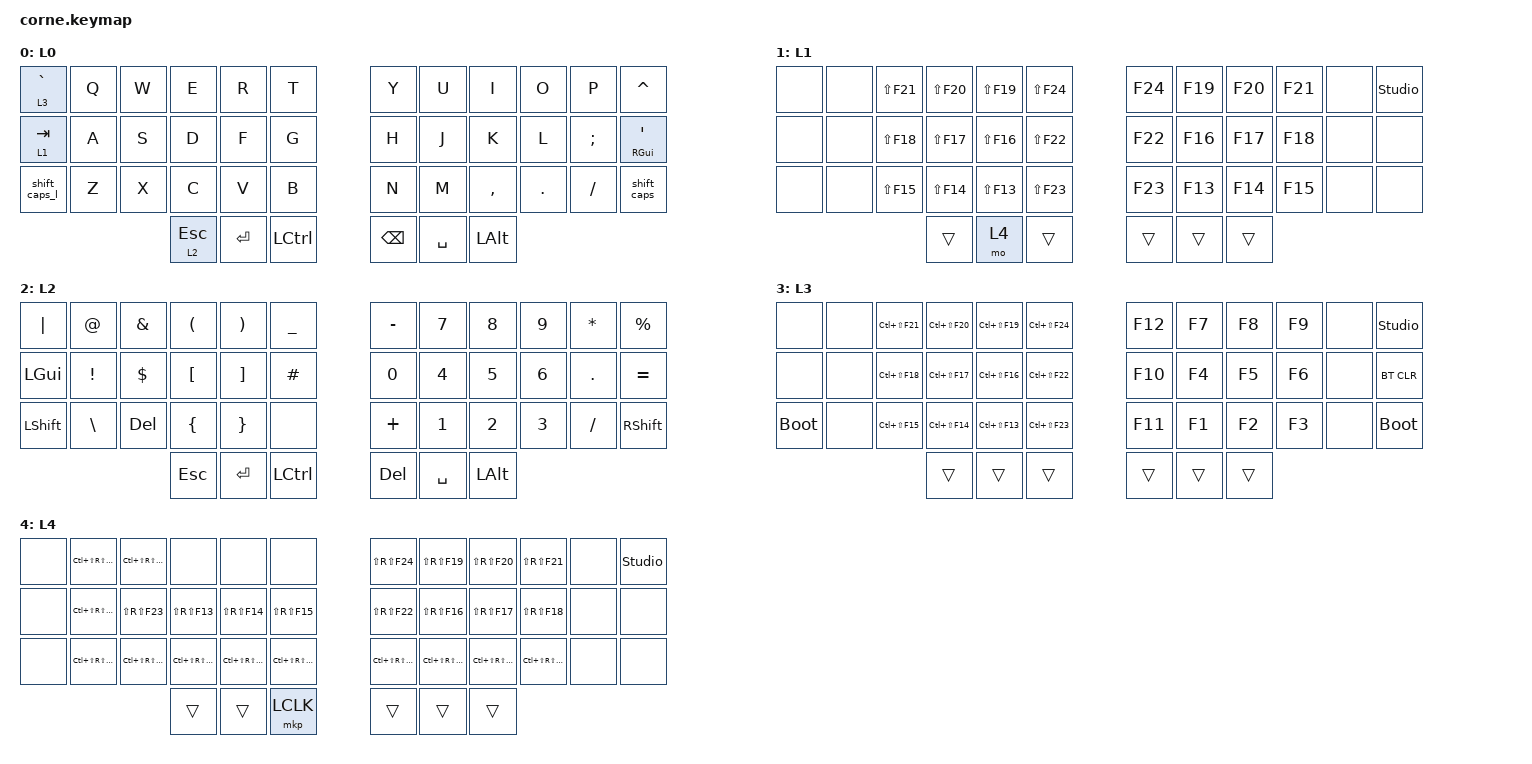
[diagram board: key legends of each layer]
#include <behaviors.dtsi>
#include <dt-bindings/zmk/bt.h>
#include <dt-bindings/zmk/keys.h>
// pointing.h is kept for LCLK/MOVE_* should the mouse ever move back into
// firmware. Nothing binds them now: AutoKey drives the pointer from the Alt
// F-keys on the mouse layer, where the speed is a number in jumps.ini.
#include <dt-bindings/zmk/pointing.h>

#define DEF 0
#define NAV 1
#define SYM 2
#define ADJ 3
#define EXTRA 4

/ {
    behaviors {
        hm: homerow_mods {
            compatible = "zmk,behavior-hold-tap";
            label = "HOMEROW_MODS";
            #binding-cells = <2>;
            tapping-term-ms = <200>;
            quick_tap_ms = <0>;
            flavor = "tap-preferred";
            bindings = <&kp>, <&kp>;

            quick-tap-ms = <180>;
            global-quick-tap;
        };

        // One tap is an ordinary Shift, held or not; two taps toggle Caps
        // Lock, and two more turn it off again.
        //
        // Each hand gets its own instance rather than sharing one. A tap dance
        // counts taps against the behaviour, and one instance bound to two keys
        // risks a tap on each hand counting as a double tap on neither.
        shift_caps_l: shift_caps_l {
            compatible = "zmk,behavior-tap-dance";
            label = "SHIFT_CAPS_L";
            #binding-cells = <0>;
            tapping-term-ms = <200>;
            bindings = <&kp LSHFT>, <&kp CAPS>;
        };

        shift_caps: shift_caps {
            compatible = "zmk,behavior-tap-dance";
            label = "SHIFT_CAPS";
            #binding-cells = <0>;
            tapping-term-ms = <200>;
            bindings = <&kp RSHFT>, <&kp CAPS>;
        };

        para: para {
            compatible = "zmk,behavior-tap-dance";
            label = "PARA";
            #binding-cells = <0>;
            bindings = <&kp LEFT_PARENTHESIS>, <&kp RIGHT_PARENTHESIS>;
        };

        caps: caps {
            compatible = "zmk,behavior-caps-word";
            label = "CAPS";
            #binding-cells = <0>;
            continue-list = <MINUS BACKSPACE>;
        };

        paraless: paraless {
            compatible = "zmk,behavior-mod-morph";
            label = "PARALESS";
            bindings = <&kp LEFT_PARENTHESIS>, <&kp LESS_THAN>;

            #binding-cells = <0>;
            mods = <(MOD_LSFT)>;
        };

        paragreat: paragreat {
            compatible = "zmk,behavior-mod-morph";
            label = "PARAGREAT";
            bindings = <&kp RIGHT_PARENTHESIS>, <&kp GREATER_THAN>;

            #binding-cells = <0>;
            mods = <(MOD_LSFT)>;
        };
    };

    macros {
        browsertab: browsertab {
            compatible = "zmk,behavior-macro";
            #binding-cells = <0>;
            bindings =
                <&macro_press>,
                <&kp LCTRL>,
                <&macro_tap>,
                <&kp TAB>,
                <&macro_release>,
                <&kp LCTRL>;
        };
    };

    combos {
        compatible = "zmk,combos";

        escape {
            bindings = <&kp ESCAPE>;
            key-positions = <13 29>;
        };

        delete {
            bindings = <&kp DELETE>;
            key-positions = <15 21>;
        };

        perc {
            bindings = <&kp PERCENT>;
            key-positions = <5 17>;
        };

        equal {
            bindings = <&kp EQUAL>;
            key-positions = <28 16>;
        };

        dollar {
            bindings = <&kp DOLLAR>;
            key-positions = <4 16>;
        };

        pound {
            bindings = <&kp POUND>;
            key-positions = <3 15>;
        };

        at {
            bindings = <&kp AT>;
            key-positions = <2 14>;
        };

        backslash {
            bindings = <&kp BACKSLASH>;
            key-positions = <26 14>;
        };

        copy {
            bindings = <&kp K_COPY>;
            key-positions = <28 27>;
        };

        paste {
            bindings = <&kp K_PASTE>;
            key-positions = <26 27>;
        };

        star {
            bindings = <&kp STAR>;
            key-positions = <8 20>;
        };

        slash {
            bindings = <&kp SLASH>;
            key-positions = <32 20>;
        };

        plus {
            bindings = <&kp PLUS>;
            key-positions = <7 19>;
        };

        minus {
            bindings = <&kp MINUS>;
            key-positions = <31 19>;
        };

        underscore {
            bindings = <&kp UNDER>;
            key-positions = <30 18>;
        };

        leftbrack {
            bindings = <&kp LEFT_BRACKET>;
            key-positions = <31 32>;
        };

        rightbrack {
            bindings = <&kp RIGHT_BRACKET>;
            key-positions = <33 32>;
        };

        para-less {
            bindings = <&paraless>;
            key-positions = <20 19>;
        };

        para-great {
            bindings = <&paragreat>;
            key-positions = <20 21>;
        };

        // Tab and Enter together, straight to the mouse layer.
        //
        // The slow way in - hold Tab for NAV, then hold Enter for &mo 4 - works
        // and always did, but only slowly. `&lt` is ZMK's stock layer-tap:
        // tap-preferred, 200ms, which decides hold or tap when the term expires
        // and not before. Pressing Enter inside that window therefore lands on
        // L0, where position 37 is a plain Enter, so the mouse layer never
        // opens and a newline is typed instead. Reaching for both keys at once
        // is the natural gesture and it was the one that could not work.
        //
        // A combo rather than changing the layer-tap's flavour, because
        // hold-preferred would make every Tab followed quickly by a letter into
        // a layer action - and "Tab to indent, then type" is real. This touches
        // nothing but these two keys.
        //
        // Both numbers are the ones to tune after living with it: raise
        // timeout-ms if a deliberate press is missed, and require-prior-idle-ms
        // is what stops a fast Tab-then-Enter in a form from opening the layer
        // by accident.
        mouse-layer {
            bindings = <&mo 4>;
            key-positions = <12 37>;
            timeout-ms = <60>;
            require-prior-idle-ms = <125>;
            layers = <0>;
        };
    };

    //

    keymap {
        compatible = "zmk,keymap";

        DEF {
            display-name = "L0";

            // -----------------------------------------------------------------------------------------
            // |  Q  |  W  |  E  |  R  |  T  |   |  Y  |  U   |  I  |  O  |  P  |
            // |  A  |  S  |  D  |  F  |  G  |   |  H  |  J   |  K  |  L  |  ;  |
            // |  Z  |  X  |  C  |  V  |  B  |   |  N  |  M   |  ,  |  .  |  /  |
            // | GUI | CTRL | SHFT | LWR | SPC |   | ENT | RSE  | BKSP | ALT | ESC |

            bindings = <
&lt 3 GRAVE   &kp Q  &kp W  &kp E         &kp R      &kp T               &kp Y    &kp U            &kp I      &kp O    &kp P     &kp CARET
&lt 1 TAB     &kp A  &kp S  &kp D         &kp F      &kp G               &kp H    &kp J            &kp K      &kp L    &kp SEMI  &mt RIGHT_GUI SQT
&shift_caps_l &kp Z  &kp X  &kp C         &kp V      &kp B               &kp N    &kp M            &kp COMMA  &kp DOT  &kp FSLH  &shift_caps
                            &lt 2 ESCAPE  &kp ENTER  &kp LEFT_CONTROL    &kp BSPC  &kp SPACE  &kp LALT
            >;
        };

        NAV {
            display-name = "L1";

            // -----------------------------------------------------------------------------------------
            // |  TAB |  1  |  2  |  3  |  4  |  5  |   |  6  |  7  |  8  |  9  |  0  | BKSP |
            // | BTCLR| BT1 | BT2 | BT3 | BT4 | BT5 |   | LFT | DWN |  UP | RGT |     |      |
            // | SHFT |     |     |     |     |     |   |     |     |     |     |     |      |
            // | GUI | CTRL | SHFT | LWR | SPC |   | ENT | RSE  | BKSP | ALT | ESC |

            bindings = <
&none  &none  &kp LS(F21)  &kp LS(F20)  &kp LS(F19)  &kp LS(F24)    &kp F24  &kp F19  &kp F20  &kp F21  &none  &studio_unlock
&none  &none  &kp LS(F18)  &kp LS(F17)  &kp LS(F16)  &kp LS(F22)    &kp F22  &kp F16  &kp F17  &kp F18  &none  &none
&none  &none  &kp LS(F15)  &kp LS(F14)  &kp LS(F13)  &kp LS(F23)    &kp F23  &kp F13  &kp F14  &kp F15  &none  &none
                           &trans       &mo 4        &trans         &trans   &trans   &trans
            >;
        };

        SYM {
            display-name = "L2";

            // -----------------------------------------------------------------------------------------
            // |  TAB |  !  |  @  |  #  |  $  |  %  |   |  ^  |  &  |  *  |  (  |  )  | BKSP |
            // | CTRL |     |     |     |     |     |   |  -  |  =  |  [  |  ]  |  \  |  `   |
            // | SHFT |     |     |     |     |     |   |  _  |  +  |  {  |  }  | "|" |  ~   |
            //                    | GUI |     | SPC |   | ENT |     | ALT |

            bindings = <
&kp PIPE   &kp AT_SIGN      &kp AMPERSAND  &kp LEFT_PARENTHESIS  &kp RIGHT_PARENTHESIS  &kp UNDERSCORE    &kp MINUS     &kp N7        &kp N8  &kp N9  &kp ASTERISK  &kp PERCENT
&kp LGUI   &kp EXCLAMATION  &kp DOLLAR     &kp LEFT_BRACKET      &kp RIGHT_BRACKET      &kp HASH          &kp N0  &kp N4        &kp N5  &kp N6  &kp PERIOD    &kp EQUAL
&kp LSHFT  &kp BACKSLASH    &kp DELETE     &kp LEFT_BRACE        &kp RIGHT_BRACE        &none             &kp PLUS      &kp N1  &kp N2  &kp N3        &kp SLASH     &kp RSHFT
                                           &kp ESC               &kp ENTER              &kp LEFT_CONTROL  &kp DELETE    &kp SPACE     &kp LALT
            >;
        };

        ADJ {
            display-name = "L3";
            bindings = <
&none        &none  &kp LC(LS(F21))  &kp LC(LS(F20))  &kp LC(LS(F19))  &kp LC(LS(F24))    &kp F12  &kp F7  &kp F8  &kp F9  &none  &studio_unlock
&none        &none  &kp LC(LS(F18))  &kp LC(LS(F17))  &kp LC(LS(F16))  &kp LC(LS(F22))    &kp F10  &kp F4  &kp F5  &kp F6  &none  &bt BT_CLR
&bootloader  &none  &kp LC(LS(F15))  &kp LC(LS(F14))  &kp LC(LS(F13))  &kp LC(LS(F23))    &kp F11  &kp F1  &kp F2  &kp F3  &none  &bootloader
                                     &trans           &trans           &trans             &trans   &trans  &trans
            >;
        };

        // The mouse layer. Every key sends both Shift keys and one F-key, with
        // no Alt anywhere: a modifier that gets stuck should cost capital
        // letters, not a menu bar and an Alt+F4 - and not GUI's Win+L, which
        // locks the screen. Alt stuck down once already made every NAV key run
        // this layer's actions instead of its own.
        //
        // One modifier pair means the two halves can no longer share F-keys the
        // way NAV's mirror does, so every key that does something gets its own
        // code. HJKL move, YUIO scroll, SDF click right, middle and left, G is
        // the grid, and XCVB arrange the window: minimise, left half, right
        // half, whole screen.
        //
        // Two banks of twelve, both flashed in full so that adding an action
        // later is a jumps.ini edit and not another trip to the bootloader:
        //   both Shifts            F13-F24   HJKL YUIO SDF G
        //   Ctrl and both Shifts   F13-F24   XCVB, and eight keys still free
        // XCVB take Ctrl+Shift+F13-F16 rather than Shift+F1-F4, because an
        // application cannot tell left Shift from right and would read the
        // latter as Shift+F1..F4 - context help, rename, change case, repeat
        // find. Every code here is one no application answers, so the layer is
        // harmless on the days AutoKey is not running to catch it.
        //
        // Still free on Ctrl and both Shifts: Z F17, N F18, M F19, comma F20,
        // period F21, A F22, W F23, E F24. Wired, unbound, waiting.
        EXTRA {
            display-name = "L4";
            bindings = <
&none  &kp LC(LS(RS(F23)))  &kp LC(LS(RS(F24)))  &none                &none                &none                  &kp LS(RS(F24))      &kp LS(RS(F19))      &kp LS(RS(F20))      &kp LS(RS(F21))      &none  &studio_unlock
&none  &kp LC(LS(RS(F22)))  &kp LS(RS(F23))      &kp LS(RS(F13))      &kp LS(RS(F14))      &kp LS(RS(F15))        &kp LS(RS(F22))      &kp LS(RS(F16))      &kp LS(RS(F17))      &kp LS(RS(F18))      &none  &none
&none  &kp LC(LS(RS(F17)))  &kp LC(LS(RS(F13)))  &kp LC(LS(RS(F14)))  &kp LC(LS(RS(F15)))  &kp LC(LS(RS(F16)))    &kp LC(LS(RS(F18)))  &kp LC(LS(RS(F19)))  &kp LC(LS(RS(F20)))  &kp LC(LS(RS(F21)))  &none  &none
                                &trans           &trans           &mkp LCLK          &trans           &trans           &trans
            >;
        };
    };

    conditional_layers {
        compatible = "zmk,conditional-layers";

        l3 {
            if-layers = <1 2>;
            then-layer = <3>;
        };
    };
};
